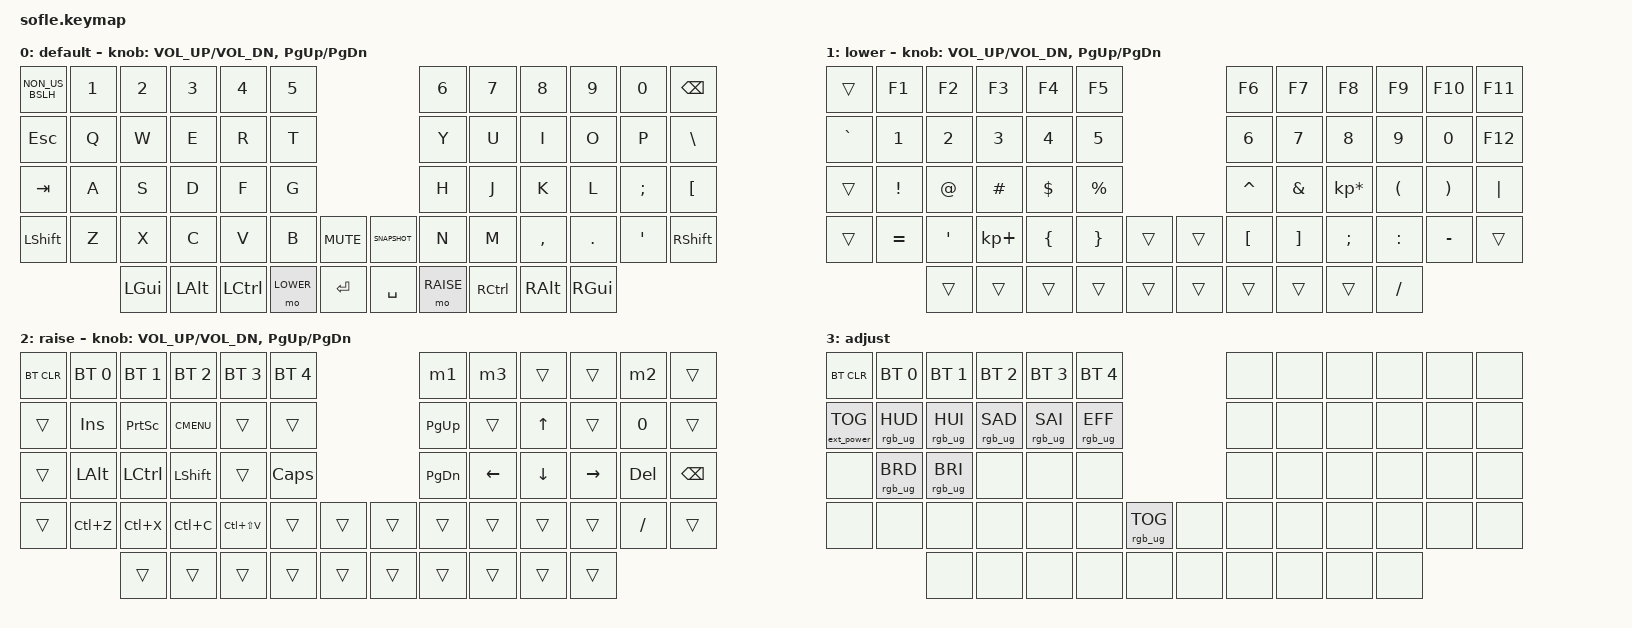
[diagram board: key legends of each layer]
/*
 * Copyright (c) 2020 The ZMK Contributors
 *
 * SPDX-License-Identifier: MIT
 */

#include <behaviors.dtsi>
#include <dt-bindings/zmk/bt.h>
#include <dt-bindings/zmk/ext_power.h>
#include <dt-bindings/zmk/keys.h>
#include <dt-bindings/zmk/rgb.h>

#define BASE 0
#define LOWER 1
#define RAISE 2
#define ADJUST 3

/ {
    // Activate ADJUST layer by pressing raise and lower

    conditional_layers {
        compatible = "zmk,conditional-layers";

        adjust_layer {
            if-layers = <LOWER RAISE>;
            then-layer = <ADJUST>;
        };
    };

    macros {
        m1: m1 {
            compatible = "zmk,behavior-macro";
            #binding-cells = <0>;
            bindings = <&kp ENTER &kp LS(S) &kp A &kp L &kp U &kp T &kp A &kp C &kp I &kp O &kp N &kp S &kp COMMA>;
            label = "M1";
        };

        m2: m2 {
            compatible = "zmk,behavior-macro";
            #binding-cells = <0>;
            bindings = <&kp LS(S) &kp I &kp N &kp R &kp E &kp M &kp E &kp D &kp I &kp O &kp N2 &kp N6 &kp RA(LC(NUMBER_2)) &kp UNDER>;
            label = "M2";
        };

        m3: m3 {
            compatible = "zmk,behavior-macro";
            #binding-cells = <0>;
            bindings = <&kp RC(COMMA) &kp SPACE &kp LC(LS(DOT))>;
            label = "M3";
        };

        m4: m4 {
            compatible = "zmk,behavior-macro";
            #binding-cells = <0>;
            bindings = <&kp F8>;
            label = "M4";
        };
    };

    combos {
        compatible = "zmk,combos";

        m4 {
            bindings = <&m4>;
            key-positions = <52 45>;
            layers = <0>;
        };
    };

    keymap {
        compatible = "zmk,keymap";

        default_layer {
            display-name = "default";

            // ------------------------------------------------------------------------------------------------------------
            // |   `   |  1  |  2  |  3   |  4   |  5   |                   |  6   |  7    |  8    |  9   |   0   |  F5   |
            // |  ESC  |  Q  |  W  |  E   |  R   |  T   |                   |  Y   |  U    |  I    |  O   |   P   | BKSPC |
            // |  TAB  |  A  |  S  |  D   |  F   |  G   |                   |  H   |  J    |  K    |  L   |   ;   |   '   |
            // | SHIFT |  Z  |  X  |  C   |  V   |  B   |  MUTE  |  |       |  N   |  M    |  ,    |  .   |   /   | SHIFT |
            //               | GUI | ALT  | CTRL | LOWER|  ENTER |  | SPACE | RAISE| CTRL  | ALT   | GUI  |

            bindings = <
&kp NON_US_BSLH  &kp N1  &kp N2    &kp N3    &kp N4     &kp N5                                   &kp N6     &kp N7     &kp N8     &kp N9    &kp N0    &kp BACKSPACE
&kp ESC          &kp Q   &kp W     &kp E     &kp R      &kp T                                    &kp Y      &kp U      &kp I      &kp O     &kp P     &kp BACKSLASH
&kp TAB          &kp A   &kp S     &kp D     &kp F      &kp G                                    &kp H      &kp J      &kp K      &kp L     &kp SEMI  &kp LEFT_BRACKET
&kp LSHFT        &kp Z   &kp X     &kp C     &kp V      &kp B      &kp C_MUTE    &kp C_SNAPSHOT  &kp N      &kp M      &kp COMMA  &kp DOT   &kp SQT   &kp RSHFT
                         &kp LGUI  &kp LALT  &kp LCTRL  &mo LOWER  &kp ENTER     &kp SPACE       &mo RAISE  &kp RCTRL  &kp RALT   &kp RGUI
            >;

            sensor-bindings = <&inc_dec_kp C_VOL_UP C_VOL_DN &inc_dec_kp PG_UP PG_DN>;
        };

        lower_layer {
            display-name = "lower";

            // TODO: Some binds are waiting for shifted keycode support.
            // ------------------------------------------------------------------------------------------------------------
            // |       |  F1 |  F2 |  F3  |  F4  |  F5  |                   |  F6  |  F7   |  F8   |  F9  |  F10  |  F11  |
            // |   `   |  1  |  2  |  3   |  4   |  5   |                   |  6   |  7    |  8    |  9   |   0   |  F12  |
            // |       |  !  |  @  |  #   |  $   |  %   |                   |  ^   |  &    |  *    |  (   |   )   |   |   |
            // |       |  =  |  -  |  +   |  {   |  }   |        |  |       |  [   |  ]    |  ;    |  :   |   \   |       |
            //               |     |      |      |      |        |  |       |      |       |       |      |

            bindings = <
&trans     &kp F1     &kp F2          &kp F3       &kp F4          &kp F5                             &kp F6     &kp F7    &kp F8           &kp F9                &kp F10                &kp F11
&kp GRAVE  &kp N1     &kp N2          &kp N3       &kp N4          &kp N5                             &kp N6     &kp N7    &kp N8           &kp N9                &kp N0                 &kp F12
&trans     &kp EXCL   &kp AT_SIGN     &kp HASH     &kp DLLR        &kp PRCNT                          &kp CARET  &kp AMPS  &kp KP_MULTIPLY  &kp LEFT_PARENTHESIS  &kp RIGHT_PARENTHESIS  &kp PIPE
&trans     &kp EQUAL  &kp APOSTROPHE  &kp KP_PLUS  &kp LEFT_BRACE  &kp RIGHT_BRACE  &trans    &trans  &kp LBKT   &kp RBKT  &kp SEMI         &kp COLON             &kp MINUS              &trans
                      &trans          &trans       &trans          &trans           &trans    &trans  &trans     &trans    &trans           &kp SLASH
            >;

            sensor-bindings = <&inc_dec_kp C_VOL_UP C_VOL_DN &inc_dec_kp PG_UP PG_DN>;
        };

        raise_layer {
            display-name = "raise";

            // ------------------------------------------------------------------------------------------------------------
            // | BTCLR | BT1  | BT2  |  BT3  |  BT4  |  BT5 |                |      |      |       |      |       |       |
            // |       | INS  | PSCR | GUI   |       |      |                | PGUP |      |   ^   |      |       |       |
            // |       | ALT  | CTRL | SHIFT |       | CAPS |                | PGDN |   <- |   v   |  ->  |  DEL  | BKSPC |
            // |       | UNDO | CUT  | COPY  | PASTE |      |      |  |      |      |      |       |      |       |       |
            //                |      |       |       |      |      |  |      |      |      |       |      |

            bindings = <
&bt BT_CLR  &bt BT_SEL 0  &bt BT_SEL 1  &bt BT_SEL 2  &bt BT_SEL 3   &bt BT_SEL 4                    &m1        &m3       &trans    &trans     &m2        &trans
&trans      &kp INS       &kp PSCRN     &kp K_CMENU   &trans         &trans                          &kp PG_UP  &trans    &kp UP    &trans     &kp N0     &trans
&trans      &kp LALT      &kp LCTRL     &kp LSHFT     &trans         &kp CLCK                        &kp PG_DN  &kp LEFT  &kp DOWN  &kp RIGHT  &kp DEL    &kp BSPC
&trans      &kp LC(Z)     &kp LC(X)     &kp LC(C)     &kp LC(LS(V))  &trans        &trans    &trans  &trans     &trans    &trans    &trans     &kp SLASH  &trans
                          &trans        &trans        &trans         &trans        &trans    &trans  &trans     &trans    &trans    &trans
            >;

            sensor-bindings = <&inc_dec_kp C_VOL_UP C_VOL_DN &inc_dec_kp PG_UP PG_DN>;
        };

        adjust_layer {
            // ----------------------------------------------------------------------------------------------------------------------------
            // | BTCLR  |  BT1    |  BT2    |   BT3   |   BT4   |   BT5   |                  |      |      |       |      |       |       |
            // | EXTPWR | RGB_HUD | RGB_HUI | RGB_SAD | RGB_SAI | RGB_EFF |                  |      |      |       |      |       |       |
            // |        | RGB_BRD | RGB_BRI |         |         |         |                  |      |      |       |      |       |       |
            // |        |         |         |         |         |         | RGB_TOG | |      |      |      |       |      |       |       |
            //                    |         |         |         |         |         | |      |      |      |       |      |

            display-name = "adjust";
            bindings = <
&bt BT_CLR         &bt BT_SEL 0     &bt BT_SEL 1     &bt BT_SEL 2     &bt BT_SEL 3     &bt BT_SEL 4                               &none  &none  &none  &none  &none  &none
&ext_power EP_TOG  &rgb_ug RGB_HUD  &rgb_ug RGB_HUI  &rgb_ug RGB_SAD  &rgb_ug RGB_SAI  &rgb_ug RGB_EFF                            &none  &none  &none  &none  &none  &none
&none              &rgb_ug RGB_BRD  &rgb_ug RGB_BRI  &none            &none            &none                                      &none  &none  &none  &none  &none  &none
&none              &none            &none            &none            &none            &none            &rgb_ug RGB_TOG    &none  &none  &none  &none  &none  &none  &none
                                    &none            &none            &none            &none            &none              &none  &none  &none  &none  &none
            >;
        };
    };
};
